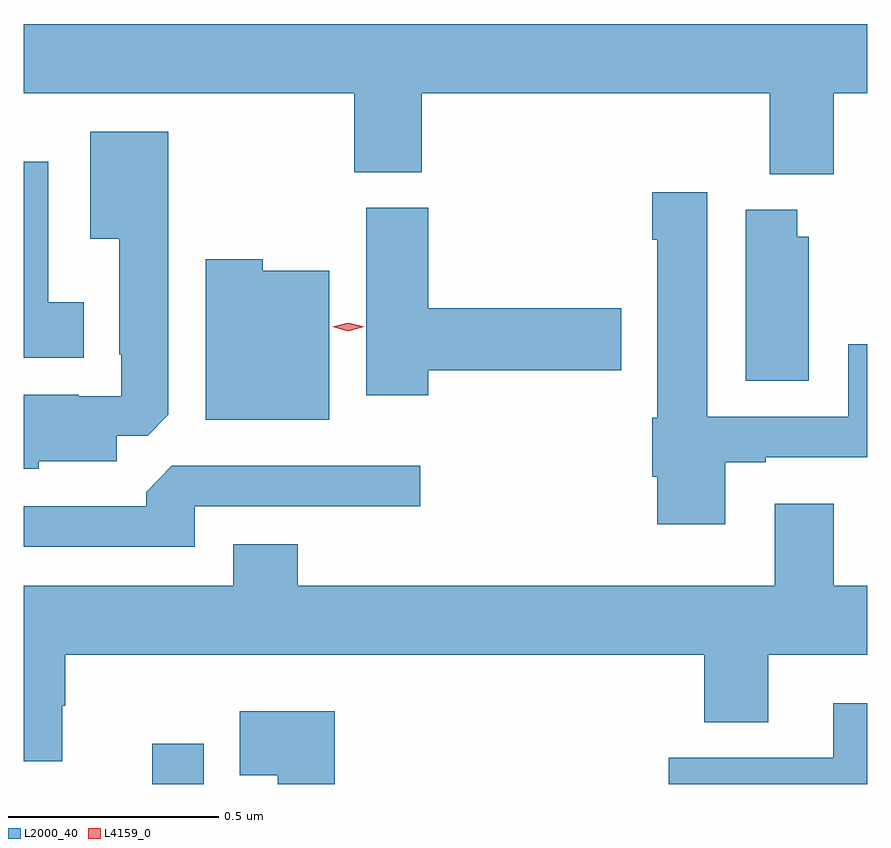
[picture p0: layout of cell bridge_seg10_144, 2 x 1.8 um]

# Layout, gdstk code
import gdstk
lib = gdstk.Library(unit=1e-6, precision=1e-09)
def R(c, l, rs):  # rectangles x0, y0, x1, y1
    for r in rs: c.add(gdstk.rectangle(r[:2], r[2:], *l))
def P(c, l, *ps):  # polygons
    for p in ps: c.add(gdstk.Polygon(p, *l))
L2000_40 = (2000, 40)
L4159_0 = (4159, 0)

bridge_seg10_144 = lib.new_cell('bridge_seg10_144')
R(bridge_seg10_144, L2000_40, [(336.893,1258.718,337.015,1258.813)])
P(bridge_seg10_144, L2000_40, [(338.509,1260.356),(338.588,1260.356),(338.588,1260.52),(336.588,1260.52),(336.588,1260.356),(337.372,1260.356),(337.372,1260.169),(337.532,1260.169),(337.532,1260.356),(338.357,1260.356),(338.357,1260.164),(338.509,1260.164)],
  [(336.624,1259.483),(336.808,1259.483),(336.808,1259.544),(336.882,1259.544),(336.931,1259.593),(336.931,1260.265),(336.746,1260.265),(336.746,1260.011),(336.815,1260.011),(336.815,1259.737),(336.819,1259.737),(336.819,1259.637),(336.719,1259.637),(336.719,1259.641),(336.588,1259.641),(336.588,1259.465),(336.624,1259.465)],
  [(336.73,1259.86),(336.646,1259.86),(336.646,1260.193),(336.588,1260.193),(336.588,1259.729),(336.73,1259.729)],
  [(338.251,1259.481),(338.347,1259.481),(338.347,1259.493),(338.588,1259.493),(338.588,1259.761),(338.543,1259.761),(338.543,1259.589),(338.209,1259.589),(338.209,1260.121),(338.078,1260.121),(338.078,1260.008),(338.09,1260.008),(338.09,1259.586),(338.078,1259.586),(338.078,1259.446),(338.09,1259.446),(338.09,1259.334),(338.251,1259.334)],
  [(337.547,1259.699),(338.005,1259.699),(338.005,1259.846),(337.547,1259.846),(337.547,1260.084),(337.4,1260.084),(337.4,1259.64),(337.547,1259.64)],
  [(338.449,1260.015),(338.422,1260.015),(338.422,1260.079),(338.3,1260.079),(338.3,1259.674),(338.449,1259.674)],
  [(337.312,1259.935),(337.155,1259.935),(337.155,1259.962),(337.019,1259.962),(337.019,1259.582),(337.312,1259.582)],
  [(336.993,1259.376),(337.528,1259.376),(337.528,1259.472),(336.939,1259.472),(336.878,1259.41),(336.878,1259.376),(336.588,1259.376),(336.588,1259.28),(336.993,1259.28)],
  [(336.679,1258.904),(336.687,1258.904),(336.687,1259.024),(338.201,1259.024),(338.201,1258.865),(338.353,1258.865),(338.353,1259.024),(338.588,1259.024),(338.588,1259.188),(338.509,1259.188),(338.509,1259.383),(338.369,1259.383),(338.369,1259.188),(337.238,1259.188),(337.238,1259.287),(337.085,1259.287),(337.085,1259.188),(336.588,1259.188),(336.588,1258.772),(336.679,1258.772)],
  [(338.588,1258.909),(338.507,1258.909),(338.507,1258.78),(338.117,1258.78),(338.117,1258.718),(338.588,1258.718)],
  [(337.325,1258.891),(337.1,1258.891),(337.1,1258.739),(337.19,1258.739),(337.19,1258.718),(337.325,1258.718)])
P(bridge_seg10_144, L4159_0, [(337.357,1259.792),(337.319,1259.802),(337.319,1259.802),(337.319,1259.802),(337.357,1259.812),(337.395,1259.802),(337.395,1259.802),(337.395,1259.802)])

lib.write_gds('bridge_seg10_144.gds')
